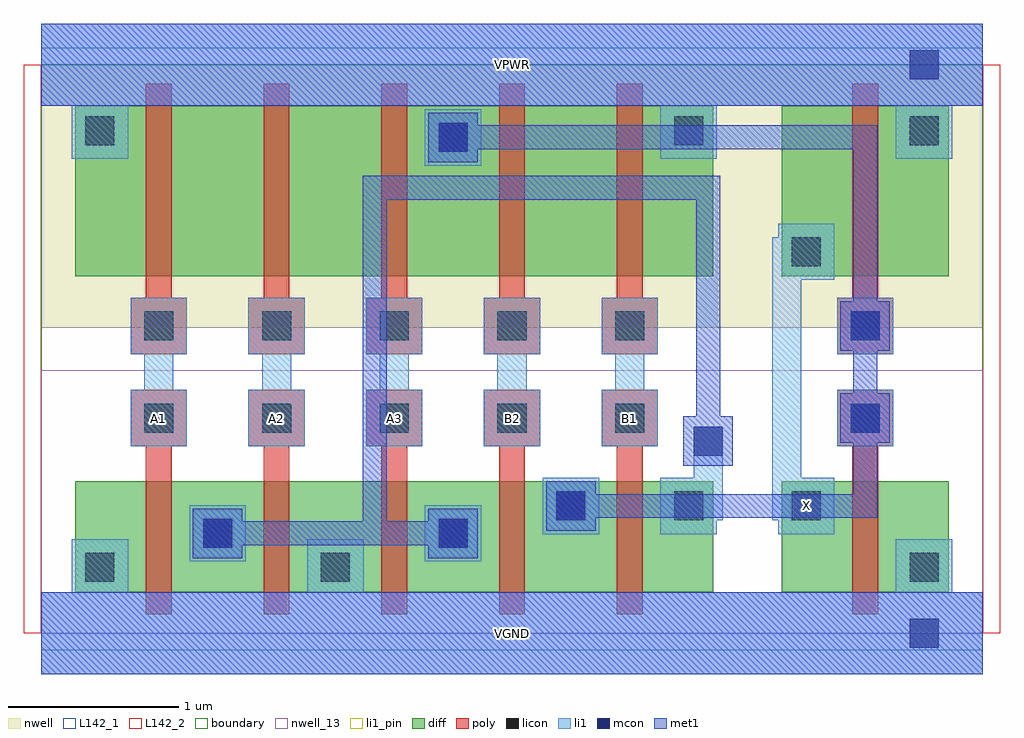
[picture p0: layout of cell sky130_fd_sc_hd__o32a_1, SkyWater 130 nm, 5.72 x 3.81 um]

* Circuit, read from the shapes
.subckt sky130_fd_sc_hd__o32a_1 A1 A2 A3 B1 B2 VGND VPWR X
XM1 n1 A1 VGND VSUBS sky130_fd_pr__nfet_01v8 w=0.65 l=0.15
XM2 VGND A2 n1 VSUBS sky130_fd_pr__nfet_01v8 w=0.65 l=0.15
XM3 n1 A3 VGND VSUBS sky130_fd_pr__nfet_01v8 w=0.65 l=0.15
XM4 n2 B2 n1 VSUBS sky130_fd_pr__nfet_01v8 w=0.65 l=0.15
XM5 n1 B1 n2 VSUBS sky130_fd_pr__nfet_01v8 w=0.65 l=0.15
XM6 VGND n2 X VSUBS sky130_fd_pr__nfet_01v8 w=0.65 l=0.15
XM7 n3 A1 VPWR n4 sky130_fd_pr__pfet_01v8 w=1 l=0.15
XM8 n5 A2 n3 n4 sky130_fd_pr__pfet_01v8 w=1 l=0.15
XM9 n2 A3 n5 n4 sky130_fd_pr__pfet_01v8 w=1 l=0.15
XM10 n6 B2 n2 n4 sky130_fd_pr__pfet_01v8 w=1 l=0.15
XM11 VPWR B1 n6 n4 sky130_fd_pr__pfet_01v8 w=1 l=0.15
XM12 VPWR n2 X n4 sky130_fd_pr__pfet_01v8 w=1 l=0.15
.ends

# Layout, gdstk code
import gdstk
lib = gdstk.Library(unit=1e-6, precision=1e-09)
def R(c, l, rs):  # rectangles x0, y0, x1, y1
    for r in rs: c.add(gdstk.rectangle(r[:2], r[2:], *l))
def A(c, l, x, y, w, h, nx, ny, dx, dy):  # array of equal rectangles
    R(c, l, [(x+i*dx, y+j*dy, x+i*dx+w, y+j*dy+h) for i in range(nx) for j in range(ny)])
def P(c, l, *ps):  # polygons
    for p in ps: c.add(gdstk.Polygon(p, *l))
nwell_13 = (64, 13)
nwell = (64, 20)
diff = (65, 20)
poly = (66, 20)
licon = (66, 44)
li1_pin = (67, 16)
li1 = (67, 20)
mcon = (67, 44)
met1 = (68, 20)
L142_1 = (142, 1)
L142_2 = (142, 2)
boundary = (235, 4)

sky130_fd_sc_hd__o32a_1 = lib.new_cell('sky130_fd_sc_hd__o32a_1')
R(sky130_fd_sc_hd__o32a_1, nwell_13, [(0,0,5.52,1.54)])
R(sky130_fd_sc_hd__o32a_1, nwell, [(0,1.79,5.52,3.33)])
A(sky130_fd_sc_hd__o32a_1, diff, 0.615, 0.24, 0.69, 0.65, 4, 1, 0.69, 0)
A(sky130_fd_sc_hd__o32a_1, diff, 0.615, 2.09, 0.69, 1, 4, 1, 0.69, 0)
R(sky130_fd_sc_hd__o32a_1, diff, [(0.2,0.24,3.94,0.89), (0.2,0.24,0.615,0.89), (3.375,0.24,3.94,0.89), (4.34,0.24,5.32,0.89), (4.34,0.24,4.755,0.89), (4.755,0.24,5.32,0.89), (0.2,2.09,3.94,3.09), (0.2,2.09,0.615,3.09), (3.375,2.09,3.94,3.09), (4.34,2.09,5.32,3.09), (4.34,2.09,4.755,3.09), (4.755,2.09,5.32,3.09)])
P(sky130_fd_sc_hd__o32a_1, poly, [(2.685,0.11),(2.685,1.095),(2.595,1.095),(2.595,1.425),(2.925,1.425),(2.925,1.095),(2.835,1.095),(2.835,0.11)],
  [(2.595,1.635),(2.595,1.965),(2.685,1.965),(2.685,3.22),(2.835,3.22),(2.835,1.965),(2.925,1.965),(2.925,1.635)],
  [(4.755,0.11),(4.755,1.095),(4.665,1.095),(4.665,1.425),(4.995,1.425),(4.995,1.095),(4.905,1.095),(4.905,0.11)],
  [(4.665,1.635),(4.665,1.965),(4.755,1.965),(4.755,3.22),(4.905,3.22),(4.905,1.965),(4.995,1.965),(4.995,1.635)],
  [(1.305,0.11),(1.305,1.095),(1.215,1.095),(1.215,1.425),(1.545,1.425),(1.545,1.095),(1.455,1.095),(1.455,0.11)],
  [(1.215,1.635),(1.215,1.965),(1.305,1.965),(1.305,3.22),(1.455,3.22),(1.455,1.965),(1.545,1.965),(1.545,1.635)],
  [(0.615,0.11),(0.615,1.095),(0.525,1.095),(0.525,1.425),(0.855,1.425),(0.855,1.095),(0.765,1.095),(0.765,0.11)],
  [(0.525,1.635),(0.525,1.965),(0.615,1.965),(0.615,3.22),(0.765,3.22),(0.765,1.965),(0.855,1.965),(0.855,1.635)],
  [(1.995,0.11),(1.995,1.095),(1.905,1.095),(1.905,1.425),(2.235,1.425),(2.235,1.095),(2.145,1.095),(2.145,0.11)],
  [(1.905,1.635),(1.905,1.965),(1.995,1.965),(1.995,3.22),(2.145,3.22),(2.145,1.965),(2.235,1.965),(2.235,1.635)],
  [(3.375,0.11),(3.375,1.095),(3.285,1.095),(3.285,1.425),(3.615,1.425),(3.615,1.095),(3.525,1.095),(3.525,0.11)],
  [(3.285,1.635),(3.285,1.965),(3.375,1.965),(3.375,3.22),(3.525,3.22),(3.525,1.965),(3.615,1.965),(3.615,1.635)])
A(sky130_fd_sc_hd__o32a_1, licon, 3.02, 0.66, 0.17, 0.17, 3, 1, 0.69, 0)
A(sky130_fd_sc_hd__o32a_1, licon, 0.605, 1.175, 0.17, 0.17, 5, 2, 0.69, 0.54)
R(sky130_fd_sc_hd__o32a_1, licon, [(0.26,0.3,0.43,0.47), (1.64,0.3,1.81,0.47), (5.09,0.3,5.26,0.47), (0.95,0.5,1.12,0.67), (2.33,0.5,2.5,0.67), (4.745,1.175,4.915,1.345), (4.745,1.715,4.915,1.885), (4.4,2.15,4.57,2.32), (2.33,2.82,2.5,2.99), (0.26,2.86,0.43,3.03), (3.71,2.86,3.88,3.03), (5.09,2.86,5.26,3.03)])
R(sky130_fd_sc_hd__o32a_1, li1_pin, [(0,-0.24,5.52,0.24), (0,3.09,5.52,3.57)])
P(sky130_fd_sc_hd__o32a_1, li1_pin, [(4.32,0.58),(4.32,0.66),(4.285,0.66),(4.285,2.32),(4.32,2.32),(4.32,2.4),(4.65,2.4),(4.65,2.07),(4.455,2.07),(4.455,0.91),(4.65,0.91),(4.65,0.58)],
  [(2.595,1.095),(2.595,1.425),(2.675,1.425),(2.675,1.635),(2.595,1.635),(2.595,1.965),(2.925,1.965),(2.925,1.635),(2.845,1.635),(2.845,1.425),(2.925,1.425),(2.925,1.095)],
  [(1.215,1.095),(1.215,1.425),(1.295,1.425),(1.295,1.635),(1.215,1.635),(1.215,1.965),(1.545,1.965),(1.545,1.635),(1.465,1.635),(1.465,1.425),(1.545,1.425),(1.545,1.095)],
  [(1.905,1.095),(1.905,1.425),(1.985,1.425),(1.985,1.635),(1.905,1.635),(1.905,1.965),(2.235,1.965),(2.235,1.635),(2.155,1.635),(2.155,1.425),(2.235,1.425),(2.235,1.095)],
  [(0.525,1.095),(0.525,1.425),(0.605,1.425),(0.605,1.635),(0.525,1.635),(0.525,1.965),(0.855,1.965),(0.855,1.635),(0.775,1.635),(0.775,1.425),(0.855,1.425),(0.855,1.095)],
  [(3.285,1.095),(3.285,1.425),(3.365,1.425),(3.365,1.635),(3.285,1.635),(3.285,1.965),(3.615,1.965),(3.615,1.635),(3.535,1.635),(3.535,1.425),(3.615,1.425),(3.615,1.095)])
R(sky130_fd_sc_hd__o32a_1, li1, [(0.87,0.42,1.2,0.75), (2.25,0.42,2.58,0.75), (2.94,0.58,3.27,0.91), (4.665,1.095,4.995,1.425), (4.665,1.635,4.995,1.965), (2.25,2.74,2.58,3.07)])
P(sky130_fd_sc_hd__o32a_1, li1, [(2.595,1.095),(2.595,1.425),(2.675,1.425),(2.675,1.635),(2.595,1.635),(2.595,1.965),(2.925,1.965),(2.925,1.635),(2.845,1.635),(2.845,1.425),(2.925,1.425),(2.925,1.095)],
  [(1.215,1.095),(1.215,1.425),(1.295,1.425),(1.295,1.635),(1.215,1.635),(1.215,1.965),(1.545,1.965),(1.545,1.635),(1.465,1.635),(1.465,1.425),(1.545,1.425),(1.545,1.095)],
  [(0.18,2.78),(0.18,3.09),(0,3.09),(0,3.57),(5.52,3.57),(5.52,3.09),(5.34,3.09),(5.34,2.78),(5.01,2.78),(5.01,3.09),(3.96,3.09),(3.96,2.78),(3.63,2.78),(3.63,3.09),(0.51,3.09),(0.51,2.78)],
  [(0.525,1.095),(0.525,1.425),(0.605,1.425),(0.605,1.635),(0.525,1.635),(0.525,1.965),(0.855,1.965),(0.855,1.635),(0.775,1.635),(0.775,1.425),(0.855,1.425),(0.855,1.095)],
  [(3.63,0.58),(3.63,0.91),(3.825,0.91),(3.825,1.21),(3.995,1.21),(3.995,0.66),(3.96,0.66),(3.96,0.58)],
  [(0,-0.24),(0,0.24),(0.18,0.24),(0.18,0.55),(0.51,0.55),(0.51,0.24),(1.56,0.24),(1.56,0.55),(1.89,0.55),(1.89,0.24),(5.01,0.24),(5.01,0.55),(5.34,0.55),(5.34,0.24),(5.52,0.24),(5.52,-0.24)],
  [(1.905,1.095),(1.905,1.425),(1.985,1.425),(1.985,1.635),(1.905,1.635),(1.905,1.965),(2.235,1.965),(2.235,1.635),(2.155,1.635),(2.155,1.425),(2.235,1.425),(2.235,1.095)],
  [(3.285,1.095),(3.285,1.425),(3.365,1.425),(3.365,1.635),(3.285,1.635),(3.285,1.965),(3.615,1.965),(3.615,1.635),(3.535,1.635),(3.535,1.425),(3.615,1.425),(3.615,1.095)],
  [(4.32,0.58),(4.32,0.66),(4.285,0.66),(4.285,2.32),(4.32,2.32),(4.32,2.4),(4.65,2.4),(4.65,2.07),(4.455,2.07),(4.455,0.91),(4.65,0.91),(4.65,0.58)])
R(sky130_fd_sc_hd__o32a_1, mcon, [(5.09,-0.085,5.26,0.085), (0.95,0.5,1.12,0.67), (2.33,0.5,2.5,0.67), (3.02,0.66,3.19,0.83), (3.825,1.04,3.995,1.21), (4.745,1.175,4.915,1.345), (4.745,1.715,4.915,1.885), (2.33,2.82,2.5,2.99), (5.09,3.245,5.26,3.415)])
R(sky130_fd_sc_hd__o32a_1, met1, [(0,-0.24,5.52,0.24), (0,3.09,5.52,3.57)])
P(sky130_fd_sc_hd__o32a_1, met1, [(2.96,0.6),(2.96,0.89),(3.25,0.89),(3.25,0.815),(4.76,0.815),(4.76,1.115),(4.685,1.115),(4.685,1.405),(4.76,1.405),(4.76,1.655),(4.685,1.655),(4.685,1.945),(4.76,1.945),(4.76,2.835),(2.56,2.835),(2.56,2.76),(2.27,2.76),(2.27,3.05),(2.56,3.05),(2.56,2.975),(4.9,2.975),(4.9,1.945),(4.975,1.945),(4.975,1.655),(4.9,1.655),(4.9,1.405),(4.975,1.405),(4.975,1.115),(4.9,1.115),(4.9,0.675),(3.25,0.675),(3.25,0.6)],
  [(0.89,0.44),(0.89,0.73),(1.18,0.73),(1.18,0.655),(1.885,0.655),(1.885,2.68),(3.98,2.68),(3.98,1.27),(4.055,1.27),(4.055,0.98),(3.765,0.98),(3.765,1.27),(3.84,1.27),(3.84,2.54),(2.025,2.54),(2.025,0.655),(2.27,0.655),(2.27,0.73),(2.56,0.73),(2.56,0.44),(2.27,0.44),(2.27,0.515),(1.18,0.515),(1.18,0.44)])
R(sky130_fd_sc_hd__o32a_1, L142_1, [(0,-0.1,5.52,0), (0,3.33,5.52,3.43)])
R(sky130_fd_sc_hd__o32a_1, L142_2, [(-0.1,0,0,3.33), (5.52,0,5.62,3.33)])
R(sky130_fd_sc_hd__o32a_1, boundary, [(0,0,5.52,3.33)])
sky130_fd_sc_hd__o32a_1.add(gdstk.Label('X', (4.485,0.745), layer=67, texttype=5))
sky130_fd_sc_hd__o32a_1.add(gdstk.Label('B2', (2.76,1.26), layer=67, texttype=5))
sky130_fd_sc_hd__o32a_1.add(gdstk.Label('A2', (1.38,1.26), layer=67, texttype=5))
sky130_fd_sc_hd__o32a_1.add(gdstk.Label('A3', (2.07,1.26), layer=67, texttype=5))
sky130_fd_sc_hd__o32a_1.add(gdstk.Label('A1', (0.69,1.26), layer=67, texttype=5))
sky130_fd_sc_hd__o32a_1.add(gdstk.Label('B1', (3.45,1.26), layer=67, texttype=5))
sky130_fd_sc_hd__o32a_1.add(gdstk.Label('VGND', (2.76,0), layer=67, texttype=5))
sky130_fd_sc_hd__o32a_1.add(gdstk.Label('VPWR', (2.76,3.33), layer=67, texttype=5))
sky130_fd_sc_hd__o32a_1.add(gdstk.Label('VGND', (2.76,0), layer=68, texttype=5))
sky130_fd_sc_hd__o32a_1.add(gdstk.Label('VPWR', (2.76,3.33), layer=68, texttype=5))

lib.write_gds('sky130_fd_sc_hd__o32a_1.gds')
